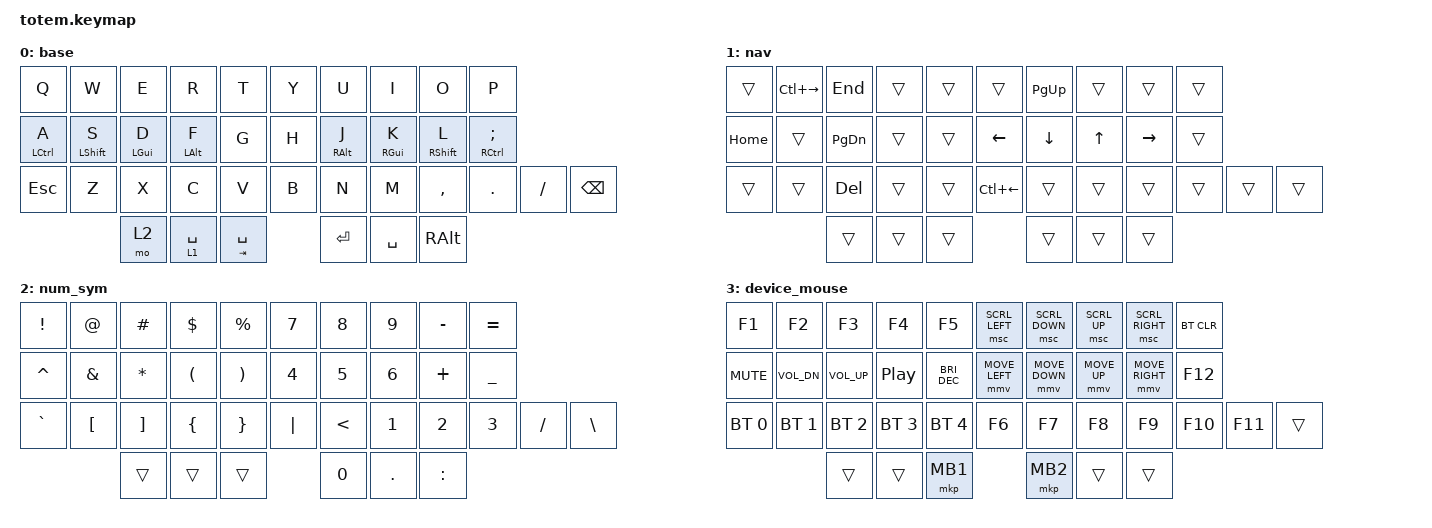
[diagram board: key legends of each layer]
//
//                                                        ▀▀▀▀▀     ▀▀▀▀▀          ▀▀█▀▀
//                                                        ▄▀▀▀▄  ▄  ▄▀▀▀▄  ▄  ▄▀▀▀▄  █  ▄▀▀▀▄
//                                                        █   █  █  █   █  █  █   █  █  █   █
//                                                         ▀▀▀   █   ▀▀▀   █   ▀▀▀   ▀   ▀▀▀
//                                                               █      ▄▄▄█▄▄▄    █   █  
//                                                               ▀      █  █  █     █▄█
//                                                             ▀▀▀▀▀    █  █  █      ▀
//                                                                      ▀  ▀  ▀
//
// ▄▄▄▄▄▄▄▄▄▄▄▄▄▄▄▄▄▄▄▄▄▄▄▄▄▄▄▄▄▄▄▄▄▄▄▄▄▄▄▄▄▄▄▄▄▄▄▄▄▄▄▄▄▄▄▄▄▄▄▄▄▄▄▄▄▄▄▄▄▄▄▄▄▄▄▄▄▄▄▄▄▄▄▄▄▄▄▄▄▄▄▄▄▄▄▄▄▄▄▄▄▄▄▄▄▄▄▄▄▄▄▄▄▄▄▄▄▄▄▄▄▄▄▄▄▄▄▄▄▄▄▄▄▄▄▄▄▄▄▄▄▄▄▄▄▄▄▄▄

#include <behaviors.dtsi>
#include <dt-bindings/zmk/bt.h>
#include <dt-bindings/zmk/keys.h>
#include <dt-bindings/zmk/pointing.h>

/*
 * TOTEM Plus
 *
 * Layer 0: BASE (QWERTY)
 * Layer 1: NAV
 * Layer 2: NUM / DEV SYMBOLS
 * Layer 3: DEVICE / MOUSE / FUNCTION
 *
 * Home row mods (Miryoku-ish, 좌우 대칭)
 * Left : A=Ctrl, S=Shift, D=Gui, F=Alt
 * Right: J=Alt,  K=Gui,   L=Shift, ;=Ctrl
 *
 * Combos
 * W+E -> ESC
 * E+R -> toggle Layer 3
 * U+I -> BACKSPACE
 * I+O -> DELETE
 *
 * Thumb cluster (left -> right)
 * 1) hold: Layer 2
 * 2) hold: Layer 1 / tap: SPACE
 * 3) hold: TAB / tap: SPACE
 * 4) tap: ENTER
 * 5) tap: SPACE
 * 6) tap: RALT
 */

&mt {
    quick-tap-ms = <100>;
    global-quick-tap;
    flavor = "tap-preferred";
    tapping-term-ms = <170>;
};

/ {
    behaviors {
        htab_spc: hold_tap_tab_space {
            compatible = "zmk,behavior-hold-tap";
            #binding-cells = <2>;
            flavor = "tap-preferred";
            tapping-term-ms = <200>;
            quick-tap-ms = <120>;
            bindings = <&kp>, <&kp>;
            label = "TAB_SPACE";
        };
    };

    combos {
        compatible = "zmk,combos";

        combo_esc {
            timeout-ms = <50>;
            key-positions = <1 2>;     /* W + E */
            layers = <0>;
            bindings = <&kp ESC>;
        };

        combo_mouse_toggle {
            timeout-ms = <50>;
            key-positions = <2 3>;     /* E + R */
            layers = <0>;
            bindings = <&tog 3>;
        };

        combo_bspc {
            timeout-ms = <50>;
            key-positions = <6 7>;     /* U + I */
            layers = <0>;
            bindings = <&kp BACKSPACE>;
        };

        combo_del {
            timeout-ms = <50>;
            key-positions = <7 8>;     /* I + O */
            layers = <0>;
            bindings = <&kp DELETE>;
        };
    };

    keymap {
        compatible = "zmk,keymap";

        base {
            /*
             * ,---------------------------------------------.                    ,---------------------------------------------.
             * |   Q   |   W   |   E   |   R   |   T   |                         |   Y   |   U   |   I   |   O   |   P   |
             * |-------+-------+-------+-------+-------|                         |-------+-------+-------+-------+-------|
             * |Ctl/A  |Sft/S  |Gui/D  |Alt/F  |   G   |                         |   H   |Alt/J  |Gui/K  |Sft/L  |Ctl/;  |
             * |-------+-------+-------+-------+-------|                         |-------+-------+-------+-------+-------|
             * |  ESC  |   Z   |   X   |   C   |   V   |   B   |       |        |   N   |   M   |   ,   |   .   |   /   | BSPC |
             * `---------------------------------------+-------+-------+--------+-------+-----------------------------------'
             *                                         | Num   | Nav/Sp| Tab/Sp | Enter | Space | RAlt  |
             *                                         `------------------------------------------------'
             */
            bindings = <
                &kp Q           &kp W           &kp E           &kp R           &kp T            &kp Y           &kp U           &kp I            &kp O             &kp P
                &mt LCTRL A     &mt LSHIFT S    &mt LGUI D      &mt LALT F      &kp G            &kp H           &mt RALT J      &mt RGUI K       &mt RSHIFT L      &mt RCTRL SEMI
                &kp ESC         &kp Z           &kp X           &kp C           &kp V            &kp B           &kp N           &kp M            &kp COMMA         &kp DOT           &kp FSLH          &kp BSPC
                                                    &mo 2        &lt 1 SPACE      &htab_spc TAB SPACE       &kp ENTER       &kp SPACE       &kp RALT
            >;
        };

        nav {
            /*
             * 요청 반영
             * A = HOME
             * E = END
             * B = Ctrl+Left
             * W = Ctrl+Right
             * X = DELETE
             * H J K L = ← ↓ ↑ →
             * U = Page Up
             * D = Page Down
             *
             * ,---------------------------------------------.                    ,---------------------------------------------.
             * |       | Ctl→  |  END  |       |       |                         |       | PgUp  |       |       |       |
             * |-------+-------+-------+-------+-------|                         |-------+-------+-------+-------+-------|
             * | HOME  |       | PgDn  |       |       |                         |   ←   |   ↓   |   ↑   |   →   |       |
             * |-------+-------+-------+-------+-------|                         |-------+-------+-------+-------+-------|
             * |       |       | DELETE|       |       | Ctl←  |       |        |       |       |       |       |       |       |
             * `---------------------------------------+-------+-------+--------+-------+-----------------------------------'
             *                                         |       |       |       |       |       |       |
             *                                         `------------------------------------------------'
             */
            bindings = <
                &trans          &kp LC(RIGHT)   &kp END         &trans          &trans          &trans          &kp PG_UP       &trans          &trans           &trans
                &kp HOME        &trans          &kp PG_DN       &trans          &trans          &kp LEFT        &kp DOWN        &kp UP          &kp RIGHT        &trans
                &trans          &trans          &kp DELETE      &trans          &trans          &kp LC(LEFT)    &trans          &trans          &trans           &trans           &trans           &trans
                                                    &trans       &trans          &trans          &trans          &trans          &trans
            >;
        };

        num_sym {
            /*
             * 개발용 심볼 + 숫자
             *
             * ,---------------------------------------------.                    ,---------------------------------------------.
             * |   !   |   @   |   #   |   $   |   %   |                         |   7   |   8   |   9   |   -   |   =   |
             * |-------+-------+-------+-------+-------|                         |-------+-------+-------+-------+-------|
             * |   ^   |   &   |   *   |   (   |   )   |                         |   4   |   5   |   6   |   +   |   _   |
             * |-------+-------+-------+-------+-------|                         |-------+-------+-------+-------+-------|
             * |   `   |   [   |   ]   |   {   |   }   |   |   |       |        |   <   |   1   |   2   |   3   |   /   |   \   |
             * `---------------------------------------+-------+-------+--------+-------+-----------------------------------'
             *                                         |       |       |       |   0   |   .   |   :   |
             *                                         `------------------------------------------------'
             */
            bindings = <
                &kp EXCL        &kp AT          &kp HASH        &kp DLLR        &kp PRCNT        &kp N7          &kp N8          &kp N9           &kp MINUS         &kp EQUAL
                &kp CARET       &kp AMPS        &kp STAR        &kp LPAR        &kp RPAR         &kp N4          &kp N5          &kp N6           &kp PLUS          &kp UNDER
                &kp GRAVE       &kp LBKT        &kp RBKT        &kp LBRC        &kp RBRC         &kp PIPE        &kp LESS_THAN   &kp N1           &kp N2            &kp N3            &kp FSLH          &kp BSLH
                                                    &trans       &trans          &trans           &kp N0          &kp DOT         &kp COLON
            >;
        };

        device_mouse {
            /*
             * H J K L = mouse move
             * Y U I O = mouse scroll
             * inner thumbs = left / right click
             *
             * ,---------------------------------------------.                    ,---------------------------------------------.
             * |  F1   |  F2   |  F3   |  F4   |  F5   |                         |Scr←   |Scr↓   |Scr↑   |Scr→   | BTCLR |
             * |-------+-------+-------+-------+-------|                         |-------+-------+-------+-------+-------|
             * | Mute  | Vol-  | Vol+  | Play  | Bri-  |                         |  M←   |  M↓   |  M↑   |  M→   |  F12  |
             * |-------+-------+-------+-------+-------|                         |-------+-------+-------+-------+-------|
             * | BT0   | BT1   | BT2   | BT3   | BT4   |  F6   |       |        |  F7   |  F8   |  F9   |  F10  |  F11  |       |
             * `---------------------------------------+-------+-------+--------+-------+-----------------------------------'
             *                                         |       |       | LCLK  | RCLK  |       |       |
             *                                         `------------------------------------------------'
             */
            bindings = <
                &kp F1          &kp F2          &kp F3          &kp F4          &kp F5           &msc SCRL_LEFT  &msc SCRL_DOWN  &msc SCRL_UP    &msc SCRL_RIGHT   &bt BT_CLR
                &kp C_MUTE      &kp C_VOL_DN    &kp C_VOL_UP    &kp C_PP        &kp C_BRIGHTNESS_DEC &mmv MOVE_LEFT &mmv MOVE_DOWN &mmv MOVE_UP    &mmv MOVE_RIGHT   &kp F12
                &bt BT_SEL 0    &bt BT_SEL 1    &bt BT_SEL 2    &bt BT_SEL 3    &bt BT_SEL 4     &kp F6          &kp F7          &kp F8          &kp F9            &kp F10           &kp F11           &trans
                                                    &trans       &trans          &mkp MB1         &mkp MB2        &trans          &trans
            >;
        };
    };
};
